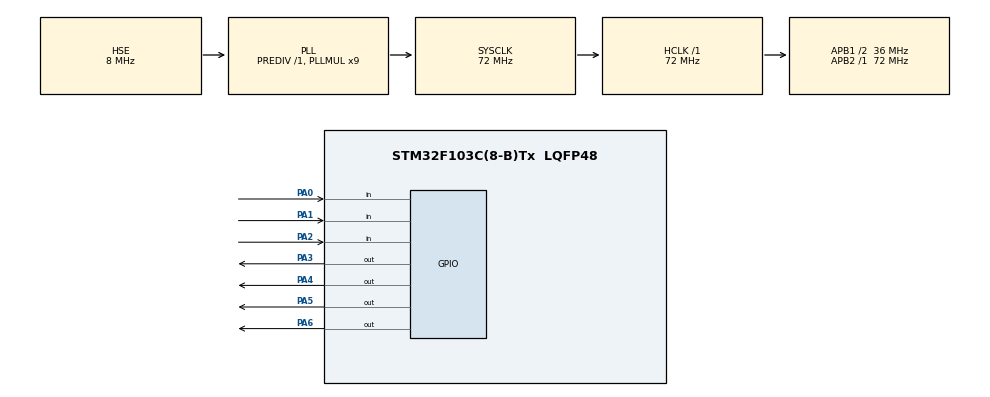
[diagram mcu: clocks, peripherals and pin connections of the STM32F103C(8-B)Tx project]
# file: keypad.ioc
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Mcu.Family=STM32F1
Mcu.Name=STM32F103C(8-B)Tx
Mcu.Package=LQFP48
NVIC.PriorityGroup=NVIC_PRIORITYGROUP_4
PA0-WKUP.Signal=GPIO_Input
PA1.Signal=GPIO_Input
PA13.Mode=Serial_Wire
PA13.Signal=SYS_JTMS-SWDIO
PA14.Mode=Serial_Wire
PA14.Signal=SYS_JTCK-SWCLK
PA2.Signal=GPIO_Input
PA3.Signal=GPIO_Output
PA4.Signal=GPIO_Output
PA5.Signal=GPIO_Output
PA6.Signal=GPIO_Output
PD0-OSC_IN.Mode=HSE-External-Oscillator
PD0-OSC_IN.Signal=RCC_OSC_IN
PD1-OSC_OUT.Mode=HSE-External-Oscillator
PD1-OSC_OUT.Signal=RCC_OSC_OUT
ProjectManager.HeapSize=0x200
ProjectManager.StackSize=0x400
ProjectManager.TargetToolchain=STM32CubeIDE
RCC.AHBFreq_Value=72000000
RCC.APB1CLKDivider=RCC_HCLK_DIV2
RCC.APB1Freq_Value=36000000
RCC.APB1TimFreq_Value=72000000
RCC.APB2Freq_Value=72000000
RCC.APB2TimFreq_Value=72000000
RCC.HCLKFreq_Value=72000000
RCC.PLLMUL=RCC_PLL_MUL9
RCC.PLLSourceVirtual=RCC_PLLSOURCE_HSE
RCC.SYSCLKFreq_VALUE=72000000
RCC.SYSCLKSource=RCC_SYSCLKSOURCE_PLLCLK
RCC.USBFreq_Value=72000000
board=custom

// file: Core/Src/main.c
/* USER CODE BEGIN Header */
/**
  ******************************************************************************
  * @file           : main.c
  * @brief          : Main program body
  ******************************************************************************
  ** This notice applies to any and all portions of this file
  * that are not between comment pairs USER CODE BEGIN and
  * USER CODE END. Other portions of this file, whether
  * inserted by the user or by software development tools
  * are owned by their respective copyright owners.
  *
  * COPYRIGHT(c) 2019 STMicroelectronics
  *
  * Redistribution and use in source and binary forms, with or without modification,
  * are permitted provided that the following conditions are met:
  *   1. Redistributions of source code must retain the above copyright notice,
  *      this list of conditions and the following disclaimer.
  *   2. Redistributions in binary form must reproduce the above copyright notice,
  *      this list of conditions and the following disclaimer in the documentation
  *      and/or other materials provided with the distribution.
  *   3. Neither the name of STMicroelectronics nor the names of its contributors
  *      may be used to endorse or promote products derived from this software
  *      without specific prior written permission.
  *
  * THIS SOFTWARE IS PROVIDED BY THE COPYRIGHT HOLDERS AND CONTRIBUTORS "AS IS"
  * AND ANY EXPRESS OR IMPLIED WARRANTIES, INCLUDING, BUT NOT LIMITED TO, THE
  * IMPLIED WARRANTIES OF MERCHANTABILITY AND FITNESS FOR A PARTICULAR PURPOSE ARE
  * DISCLAIMED. IN NO EVENT SHALL THE COPYRIGHT HOLDER OR CONTRIBUTORS BE LIABLE
  * FOR ANY DIRECT, INDIRECT, INCIDENTAL, SPECIAL, EXEMPLARY, OR CONSEQUENTIAL
  * DAMAGES (INCLUDING, BUT NOT LIMITED TO, PROCUREMENT OF SUBSTITUTE GOODS OR
  * SERVICES; LOSS OF USE, DATA, OR PROFITS; OR BUSINESS INTERRUPTION) HOWEVER
  * CAUSED AND ON ANY THEORY OF LIABILITY, WHETHER IN CONTRACT, STRICT LIABILITY,
  * OR TORT (INCLUDING NEGLIGENCE OR OTHERWISE) ARISING IN ANY WAY OUT OF THE USE
  * OF THIS SOFTWARE, EVEN IF ADVISED OF THE POSSIBILITY OF SUCH DAMAGE.
  *
  ******************************************************************************
  */
/* USER CODE END Header */
#include "main.h"

/* USER CODE BEGIN PD */
#define R1_PORT GPIOA
#define R1_PIN GPIO_PIN_6

#define R2_PORT GPIOA
#define R2_PIN GPIO_PIN_5

#define R3_PORT GPIOA
#define R3_PIN GPIO_PIN_4

#define R4_PORT GPIOA
#define R4_PIN GPIO_PIN_3

#define C1_PORT GPIOA
#define C1_PIN GPIO_PIN_2

#define C2_PORT GPIOA
#define C2_PIN GPIO_PIN_1

#define C3_PORT GPIOA
#define C3_PIN GPIO_PIN_0

/* USER CODE END PD */

void SystemClock_Config(void);
static void MX_GPIO_Init(void);

/* USER CODE BEGIN 0 */
uint8_t key;

char read_keypad (void)
{
	/* Make ROW 1 LOW and all other ROWs HIGH */
	HAL_GPIO_WritePin (R1_PORT, R1_PIN, GPIO_PIN_RESET);  //Pull the R1 low
	HAL_GPIO_WritePin (R2_PORT, R2_PIN, GPIO_PIN_SET);  // Pull the R2 High
	HAL_GPIO_WritePin (R3_PORT, R3_PIN, GPIO_PIN_SET);  // Pull the R3 High
	HAL_GPIO_WritePin (R4_PORT, R4_PIN, GPIO_PIN_SET);  // Pull the R4 High

	if (!(HAL_GPIO_ReadPin (C1_PORT, C1_PIN)))   // if the Col 1 is low
	{
		while (!(HAL_GPIO_ReadPin (C1_PORT, C1_PIN)));   // wait till the button is pressed
		return '1';
	}

	if (!(HAL_GPIO_ReadPin (C2_PORT, C2_PIN)))   // if the Col 2 is low
	{
		while (!(HAL_GPIO_ReadPin (C2_PORT, C2_PIN)));   // wait till the button is pressed
		return '2';
	}

	if (!(HAL_GPIO_ReadPin (C3_PORT, C3_PIN)))   // if the Col 3 is low
	{
		while (!(HAL_GPIO_ReadPin (C3_PORT, C3_PIN)));   // wait till the button is pressed
		return '3';
	}

	/* Make ROW 2 LOW and all other ROWs HIGH */
	HAL_GPIO_WritePin (R1_PORT, R1_PIN, GPIO_PIN_SET);  //Pull the R1 low
	HAL_GPIO_WritePin (R2_PORT, R2_PIN, GPIO_PIN_RESET);  // Pull the R2 High
	HAL_GPIO_WritePin (R3_PORT, R3_PIN, GPIO_PIN_SET);  // Pull the R3 High
	HAL_GPIO_WritePin (R4_PORT, R4_PIN, GPIO_PIN_SET);  // Pull the R4 High

	if (!(HAL_GPIO_ReadPin (C1_PORT, C1_PIN)))   // if the Col 1 is low
		{
			while (!(HAL_GPIO_ReadPin (C1_PORT, C1_PIN)));   // wait till the button is pressed
			return '4';
		}

		if (!(HAL_GPIO_ReadPin (C2_PORT, C2_PIN)))   // if the Col 2 is low
		{
			while (!(HAL_GPIO_ReadPin (C2_PORT, C2_PIN)));   // wait till the button is pressed
			return '5';
		}

		if (!(HAL_GPIO_ReadPin (C3_PORT, C3_PIN)))   // if the Col 3 is low
		{
			while (!(HAL_GPIO_ReadPin (C3_PORT, C3_PIN)));   // wait till the button is pressed
			return '6';
		}

	/* Make ROW 3 LOW and all other ROWs HIGH */
	HAL_GPIO_WritePin (R1_PORT, R1_PIN, GPIO_PIN_SET);  //Pull the R1 low
	HAL_GPIO_WritePin (R2_PORT, R2_PIN, GPIO_PIN_SET);  // Pull the R2 High
	HAL_GPIO_WritePin (R3_PORT, R3_PIN, GPIO_PIN_RESET);  // Pull the R3 High
	HAL_GPIO_WritePin (R4_PORT, R4_PIN, GPIO_PIN_SET);  // Pull the R4 High

	if (!(HAL_GPIO_ReadPin (C1_PORT, C1_PIN)))   // if the Col 1 is low
		{
			while (!(HAL_GPIO_ReadPin (C1_PORT, C1_PIN)));   // wait till the button is pressed
			return '7';
		}

		if (!(HAL_GPIO_ReadPin (C2_PORT, C2_PIN)))   // if the Col 2 is low
		{
			while (!(HAL_GPIO_ReadPin (C2_PORT, C2_PIN)));   // wait till the button is pressed
			return '8';
		}

		if (!(HAL_GPIO_ReadPin (C3_PORT, C3_PIN)))   // if the Col 3 is low
		{
			while (!(HAL_GPIO_ReadPin (C3_PORT, C3_PIN)));   // wait till the button is pressed
			return '9';
		}

	/* Make ROW 4 LOW and all other ROWs HIGH */
	HAL_GPIO_WritePin (R1_PORT, R1_PIN, GPIO_PIN_SET);  //Pull the R1 low
	HAL_GPIO_WritePin (R2_PORT, R2_PIN, GPIO_PIN_SET);  // Pull the R2 High
	HAL_GPIO_WritePin (R3_PORT, R3_PIN, GPIO_PIN_SET);  // Pull the R3 High
	HAL_GPIO_WritePin (R4_PORT, R4_PIN, GPIO_PIN_RESET);  // Pull the R4 High

	if (!(HAL_GPIO_ReadPin (C1_PORT, C1_PIN)))   // if the Col 1 is low
		{
			while (!(HAL_GPIO_ReadPin (C1_PORT, C1_PIN)));   // wait till the button is pressed
			return '*';
		}

		if (!(HAL_GPIO_ReadPin (C2_PORT, C2_PIN)))   // if the Col 2 is low
		{
			while (!(HAL_GPIO_ReadPin (C2_PORT, C2_PIN)));   // wait till the button is pressed
			return '0';
		}

		if (!(HAL_GPIO_ReadPin (C3_PORT, C3_PIN)))   // if the Col 3 is low
		{
			while (!(HAL_GPIO_ReadPin (C3_PORT, C3_PIN)));   // wait till the button is pressed
			return '#';
		}

}

/* USER CODE END 0 */

int main(void)
{

  /* MCU Configuration--------------------------------------------------------*/

  /* Reset of all peripherals, Initializes the Flash interface and the Systick. */
  HAL_Init();

  /* Configure the system clock */
  SystemClock_Config();

  /* Initialize all configured peripherals */
  MX_GPIO_Init();

  /* Infinite loop */
  while (1)
  {

    /* USER CODE BEGIN 3 */
		key = read_keypad ();
  }
  /* USER CODE END 3 */
}

void SystemClock_Config(void)
{
  RCC_OscInitTypeDef RCC_OscInitStruct = {0};
  RCC_ClkInitTypeDef RCC_ClkInitStruct = {0};

  /** Initializes the RCC Oscillators according to the specified parameters
  * in the RCC_OscInitTypeDef structure.
  */
  RCC_OscInitStruct.OscillatorType = RCC_OSCILLATORTYPE_HSE;
  RCC_OscInitStruct.HSEState = RCC_HSE_ON;
  RCC_OscInitStruct.HSEPredivValue = RCC_HSE_PREDIV_DIV1;
  RCC_OscInitStruct.HSIState = RCC_HSI_ON;
  RCC_OscInitStruct.PLL.PLLState = RCC_PLL_ON;
  RCC_OscInitStruct.PLL.PLLSource = RCC_PLLSOURCE_HSE;
  RCC_OscInitStruct.PLL.PLLMUL = RCC_PLL_MUL9;
  if (HAL_RCC_OscConfig(&RCC_OscInitStruct) != HAL_OK)
  {
    Error_Handler();
  }

  /** Initializes the CPU, AHB and APB buses clocks
  */
  RCC_ClkInitStruct.ClockType = RCC_CLOCKTYPE_HCLK|RCC_CLOCKTYPE_SYSCLK
                              |RCC_CLOCKTYPE_PCLK1|RCC_CLOCKTYPE_PCLK2;
  RCC_ClkInitStruct.SYSCLKSource = RCC_SYSCLKSOURCE_PLLCLK;
  RCC_ClkInitStruct.AHBCLKDivider = RCC_SYSCLK_DIV1;
  RCC_ClkInitStruct.APB1CLKDivider = RCC_HCLK_DIV2;
  RCC_ClkInitStruct.APB2CLKDivider = RCC_HCLK_DIV1;

  if (HAL_RCC_ClockConfig(&RCC_ClkInitStruct, FLASH_LATENCY_2) != HAL_OK)
  {
    Error_Handler();
  }
}

static void MX_GPIO_Init(void)
{
  GPIO_InitTypeDef GPIO_InitStruct = {0};

  /* GPIO Ports Clock Enable */
  __HAL_RCC_GPIOD_CLK_ENABLE();
  __HAL_RCC_GPIOA_CLK_ENABLE();

  /*Configure GPIO pin Output Level */
  HAL_GPIO_WritePin(GPIOA, GPIO_PIN_3|GPIO_PIN_4|GPIO_PIN_5|GPIO_PIN_6, GPIO_PIN_RESET);

  /*Configure GPIO pins : PA0 PA1 PA2 */
  GPIO_InitStruct.Pin = GPIO_PIN_0|GPIO_PIN_1|GPIO_PIN_2;
  GPIO_InitStruct.Mode = GPIO_MODE_INPUT;
  GPIO_InitStruct.Pull = GPIO_NOPULL;
  HAL_GPIO_Init(GPIOA, &GPIO_InitStruct);

  /*Configure GPIO pins : PA3 PA4 PA5 PA6 */
  GPIO_InitStruct.Pin = GPIO_PIN_3|GPIO_PIN_4|GPIO_PIN_5|GPIO_PIN_6;
  GPIO_InitStruct.Mode = GPIO_MODE_OUTPUT_PP;
  GPIO_InitStruct.Pull = GPIO_NOPULL;
  GPIO_InitStruct.Speed = GPIO_SPEED_FREQ_LOW;
  HAL_GPIO_Init(GPIOA, &GPIO_InitStruct);

}

void Error_Handler(void)
{
}
